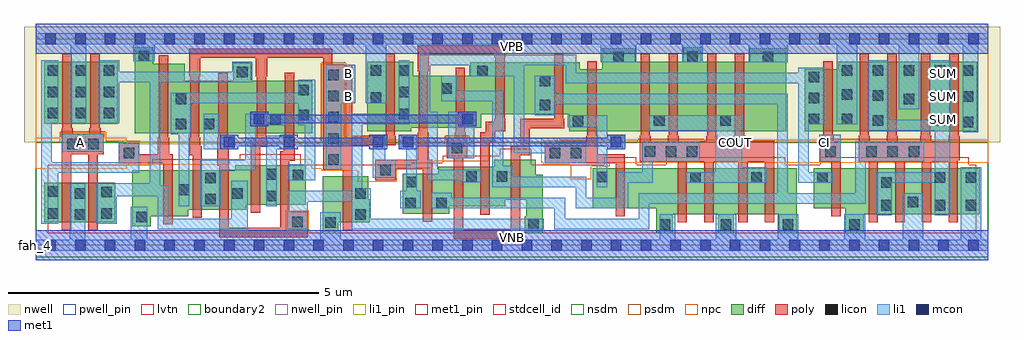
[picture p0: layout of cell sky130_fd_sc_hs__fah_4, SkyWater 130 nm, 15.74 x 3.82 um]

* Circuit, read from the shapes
.subckt sky130_fd_sc_hs__fah_4 A B CI COUT SUM VGND VNB VPB VPWR
XM1 VGND A n1 VNB sky130_fd_pr__nfet_01v8_lvt w=0.64 l=0.15
XM2 n2 A VGND VNB sky130_fd_pr__nfet_01v8_lvt w=0.64 l=0.15
XM3 n3 n1 VGND VNB sky130_fd_pr__nfet_01v8_lvt w=0.74 l=0.15
XM4 n4 B n3 VNB sky130_fd_pr__nfet_01v8_lvt w=0.64 l=0.15
XM5 n2 n5 n4 VNB sky130_fd_pr__nfet_01v8_lvt w=0.64 l=0.15
XM6 n6 B n2 VNB sky130_fd_pr__nfet_01v8_lvt w=0.64 l=0.15
XM7 n3 n5 n6 VNB sky130_fd_pr__nfet_01v8_lvt w=0.64 l=0.15
XM8 n5 B VGND VNB sky130_fd_pr__nfet_01v8_lvt w=0.74 l=0.15
XM9 n7 n6 n8 VNB sky130_fd_pr__nfet_01v8_lvt w=0.64 l=0.15
XM10 n9 n4 n7 VNB sky130_fd_pr__nfet_01v8_lvt w=0.64 l=0.15
XM11 n10 n6 n9 VNB sky130_fd_pr__nfet_01v8_lvt w=0.64 l=0.15
XM12 n5 n4 n10 VNB sky130_fd_pr__nfet_01v8_lvt w=0.64 l=0.15
XM13 VGND n9 n8 VNB sky130_fd_pr__nfet_01v8_lvt w=0.64 l=0.15
XM14 COUT n10 VGND VNB sky130_fd_pr__nfet_01v8_lvt w=0.74 l=0.15 m=4
XM15 VGND CI n9 VNB sky130_fd_pr__nfet_01v8_lvt w=0.64 l=0.15
XM16 SUM n7 VGND VNB sky130_fd_pr__nfet_01v8_lvt w=0.74 l=0.15 m=4
XM17 VPWR A n1 VPB sky130_fd_pr__pfet_01v8 w=1 l=0.15
XM18 n2 A VPWR VPB sky130_fd_pr__pfet_01v8 w=1 l=0.15
XM19 n3 n1 VPWR VPB sky130_fd_pr__pfet_01v8 w=1.12 l=0.15
XM20 n6 B n3 VPB sky130_fd_pr__pfet_01v8 w=0.84 l=0.15
XM21 n2 n5 n6 VPB sky130_fd_pr__pfet_01v8 w=0.84 l=0.15
XM22 n4 B n2 VPB sky130_fd_pr__pfet_01v8 w=0.84 l=0.15
XM23 n3 n5 n4 VPB sky130_fd_pr__pfet_01v8 w=0.84 l=0.15
XM24 n5 B VPWR VPB sky130_fd_pr__pfet_01v8 w=1.12 l=0.15
XM25 n10 n6 n5 VPB sky130_fd_pr__pfet_01v8 w=0.84 l=0.15
XM26 n9 n4 n10 VPB sky130_fd_pr__pfet_01v8 w=0.84 l=0.15
XM27 n7 n6 n9 VPB sky130_fd_pr__pfet_01v8 w=0.84 l=0.15
XM28 n8 n4 n7 VPB sky130_fd_pr__pfet_01v8 w=0.84 l=0.15
XM29 VPWR n9 n8 VPB sky130_fd_pr__pfet_01v8 w=1 l=0.15
XM30 COUT n10 VPWR VPB sky130_fd_pr__pfet_01v8 w=1.12 l=0.15 m=4
XM31 VPWR CI n9 VPB sky130_fd_pr__pfet_01v8 w=1 l=0.15
XM32 SUM n7 VPWR VPB sky130_fd_pr__pfet_01v8 w=1.12 l=0.15 m=4
.ends

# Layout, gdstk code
import gdstk
lib = gdstk.Library(unit=1e-6, precision=1e-09)
def R(c, l, rs):  # rectangles x0, y0, x1, y1
    for r in rs: c.add(gdstk.rectangle(r[:2], r[2:], *l))
def A(c, l, x, y, w, h, nx, ny, dx, dy):  # array of equal rectangles
    R(c, l, [(x+i*dx, y+j*dy, x+i*dx+w, y+j*dy+h) for i in range(nx) for j in range(ny)])
def P(c, l, *ps):  # polygons
    for p in ps: c.add(gdstk.Polygon(p, *l))
nwell_pin = (64, 16)
nwell = (64, 20)
diff = (65, 20)
poly = (66, 20)
licon = (66, 44)
li1_pin = (67, 16)
li1 = (67, 20)
mcon = (67, 44)
met1_pin = (68, 16)
met1 = (68, 20)
stdcell_id = (81, 4)
nsdm = (93, 44)
psdm = (94, 20)
npc = (95, 20)
pwell_pin = (122, 16)
lvtn = (125, 44)
boundary2 = (236, 0)

sky130_fd_sc_hs__fah_4 = lib.new_cell('sky130_fd_sc_hs__fah_4')
R(sky130_fd_sc_hs__fah_4, nwell_pin, [(0,3.085,15.36,3.33)])
P(sky130_fd_sc_hs__fah_4, nwell, [(15.55,3.52),(-0.19,3.52),(-0.19,1.66),(1.415,1.66),(1.415,1.63),(7.055,1.63),(7.055,1.715),(8.4,1.715),(8.4,1.66),(15.55,1.66)])
R(sky130_fd_sc_hs__fah_4, diff, [(0.135,0.37,1.285,1.01), (0.135,1.96,1.325,2.96)])
P(sky130_fd_sc_hs__fah_4, diff, [(4.355,1.29),(3.22,1.29),(3.22,1.21),(1.555,1.21),(1.555,0.31),(1.855,0.31),(1.855,0.47),(2.455,0.47),(2.455,0.57),(3.395,0.57),(3.395,0.65),(4.355,0.65)],
  [(4.46,2.65),(3.475,2.65),(3.475,2.94),(3.185,2.94),(3.185,2.65),(2.4,2.65),(2.4,2.93),(1.895,2.93),(1.895,3.195),(1.595,3.195),(1.595,1.81),(4.46,1.81)],
  [(5.385,0.74),(5.365,0.74),(5.365,1.11),(4.625,1.11),(4.625,0.225),(4.875,0.225),(4.875,0.37),(5.385,0.37)],
  [(8.175,1.14),(8.06,1.14),(8.06,1.375),(7.395,1.375),(7.395,1.265),(6.49,1.265),(6.49,1.15),(5.915,1.15),(5.915,0.51),(6.665,0.51),(6.665,0.625),(7.57,0.625),(7.57,0.735),(7.91,0.735),(7.91,0.465),(7.885,0.465),(7.885,0.195),(8.175,0.195)],
  [(12.105,3.18),(11.515,3.18),(11.515,2.96),(10.735,2.96),(10.735,3.195),(10.445,3.195),(10.445,2.96),(9.665,2.96),(9.665,3.18),(9.135,3.18),(9.135,2.84),(8.775,2.84),(8.775,2.955),(7.01,2.955),(7.01,2.735),(6.085,2.735),(6.085,2.96),(5.345,2.96),(5.345,1.84),(6.055,1.84),(6.055,1.895),(7.185,1.895),(7.185,2.115),(8.6,2.115),(8.6,1.84),(12.105,1.84)],
  [(12.275,1.24),(9.275,1.24),(9.275,1.245),(8.985,1.245),(8.985,0.6),(10.005,0.6),(10.005,0.19),(10.275,0.19),(10.275,0.5),(11.005,0.5),(11.005,0.19),(11.255,0.19),(11.255,0.5),(11.985,0.5),(11.985,0.19),(12.275,0.19)],
  [(15.18,2.96),(12.94,2.96),(12.94,2.84),(12.405,2.84),(12.405,1.84),(15.18,1.84)],
  [(15.225,1.24),(12.545,1.24),(12.545,0.6),(13.055,0.6),(13.055,0.19),(13.355,0.19),(13.355,0.5),(15.225,0.5)])
P(sky130_fd_sc_hs__fah_4, poly, [(1.095,1.8),(1.045,1.8),(1.045,1.885),(1.03,1.885),(1.03,3.09),(0.88,3.09),(0.88,1.885),(0.865,1.885),(0.865,1.8),(0.595,1.8),(0.595,1.885),(0.58,1.885),(0.58,3.09),(0.43,3.09),(0.43,1.885),(0.415,1.885),(0.415,1.62),(0.42,1.62),(0.42,0.24),(0.57,0.24),(0.57,1.47),(0.85,1.47),(0.85,0.24),(1,0.24),(1,1.47),(1.095,1.47)],
  [(2.205,1.47),(2.15,1.47),(2.15,1.735),(2.135,1.735),(2.135,3.06),(1.985,3.06),(1.985,1.735),(1.97,1.735),(1.97,1.47),(1.665,1.47),(1.665,1.65),(1.335,1.65),(1.335,1.32),(2.055,1.32),(2.055,0.34),(2.205,0.34)],
  [(4.385,0.54),(4.09,0.54),(4.09,1.365),(4.18,1.365),(4.18,1.735),(4.165,1.735),(4.165,2.78),(4.015,2.78),(4.015,1.735),(4,1.735),(4,1.515),(3.94,1.515),(3.94,0.28),(3.11,0.28),(3.11,1.735),(3.095,1.735),(3.095,2.78),(2.945,2.78),(2.945,1.735),(2.93,1.735),(2.93,1.285),(2.96,1.285),(2.96,0.13),(4.385,0.13)],
  [(5.805,1.765),(5.79,1.765),(5.79,3.09),(5.64,3.09),(5.64,1.765),(5.1,1.765),(5.1,2.91),(4.785,2.91),(4.785,3.17),(2.475,3.17),(2.475,2.725),(2.49,2.725),(2.49,1.735),(2.475,1.735),(2.475,1.45),(2.53,1.45),(2.53,0.44),(2.68,0.44),(2.68,1.6),(2.655,1.6),(2.655,1.735),(2.64,1.735),(2.64,2.725),(2.655,2.725),(2.655,3.02),(3.55,3.02),(3.55,2.725),(3.565,2.725),(3.565,1.735),(3.47,1.735),(3.47,0.52),(3.62,0.52),(3.62,1.585),(3.73,1.585),(3.73,1.735),(3.715,1.735),(3.715,2.725),(3.73,2.725),(3.73,3.02),(4.635,3.02),(4.635,1.22),(4.95,1.22),(4.95,0.24),(5.1,0.24),(5.1,1.615),(5.805,1.615)],
  [(14.9,1.765),(14.885,1.765),(14.885,3.09),(14.735,3.09),(14.735,1.765),(14.72,1.765),(14.72,1.68),(14.44,1.68),(14.44,1.765),(14.425,1.765),(14.425,3.09),(14.275,3.09),(14.275,1.765),(14.26,1.765),(14.26,1.68),(13.9,1.68),(13.9,1.765),(13.885,1.765),(13.885,3.09),(13.735,3.09),(13.735,1.765),(13.72,1.765),(13.72,1.68),(13.45,1.68),(13.45,1.765),(13.435,1.765),(13.435,3.09),(13.285,3.09),(13.285,1.765),(13.27,1.765),(13.27,1.35),(13.43,1.35),(13.43,0.37),(13.58,0.37),(13.58,1.35),(13.86,1.35),(13.86,0.37),(14.01,0.37),(14.01,1.35),(14.29,1.35),(14.29,0.37),(14.44,0.37),(14.44,1.35),(14.72,1.35),(14.72,0.37),(14.87,0.37),(14.87,1.37),(14.9,1.37)],
  [(12.98,1.68),(12.865,1.68),(12.865,1.765),(12.85,1.765),(12.85,2.97),(12.7,2.97),(12.7,1.765),(12.685,1.765),(12.685,1.68),(12.65,1.68),(12.65,1.35),(12.83,1.35),(12.83,0.47),(12.98,0.47)],
  [(11.91,1.685),(11.44,1.685),(11.44,1.765),(11.425,1.765),(11.425,3.09),(11.275,3.09),(11.275,1.765),(11.26,1.765),(11.26,1.68),(10.99,1.68),(10.99,1.765),(10.975,1.765),(10.975,3.09),(10.825,3.09),(10.825,1.765),(10.81,1.765),(10.81,1.68),(10.37,1.68),(10.37,1.765),(10.355,1.765),(10.355,3.09),(10.205,3.09),(10.205,1.765),(10.19,1.765),(10.19,1.68),(9.92,1.68),(9.92,1.765),(9.905,1.765),(9.905,3.09),(9.755,3.09),(9.755,1.765),(9.74,1.765),(9.74,1.35),(10.35,1.35),(10.35,0.37),(10.5,0.37),(10.5,1.35),(10.78,1.35),(10.78,0.37),(10.93,0.37),(10.93,1.35),(11.33,1.35),(11.33,0.37),(11.48,0.37),(11.48,1.35),(11.76,1.35),(11.76,0.37),(11.91,0.37)],
  [(9.5,1.47),(9.06,1.47),(9.06,1.765),(9.045,1.765),(9.045,2.97),(8.895,2.97),(8.895,1.765),(8.88,1.765),(8.88,1.65),(8.205,1.65),(8.205,1.32),(9.35,1.32),(9.35,0.47),(9.5,0.47)],
  [(8.525,2.04),(8.51,2.04),(8.51,3.085),(8.36,3.085),(8.36,2.04),(7.815,2.04),(7.815,1.6),(7.66,1.6),(7.66,0.255),(6.89,0.255),(6.89,1.405),(6.96,1.405),(6.96,1.735),(6.935,1.735),(6.935,1.82),(6.92,1.82),(6.92,2.865),(6.77,2.865),(6.77,1.82),(6.755,1.82),(6.755,1.735),(6.63,1.735),(6.63,1.405),(6.74,1.405),(6.74,0.105),(7.81,0.105),(7.81,1.45),(7.965,1.45),(7.965,1.89),(8.525,1.89)],
  [(7.575,2.04),(7.56,2.04),(7.56,3.03),(7.575,3.03),(7.575,3.225),(6.16,3.225),(6.16,2.81),(6.175,2.81),(6.175,1.82),(6.16,1.82),(6.16,1.375),(5.475,1.375),(5.475,1.045),(5.805,1.045),(5.805,1.225),(6.24,1.225),(6.24,0.38),(6.39,0.38),(6.39,1.375),(6.34,1.375),(6.34,1.82),(6.325,1.82),(6.325,2.81),(6.34,2.81),(6.34,3.075),(7.395,3.075),(7.395,3.03),(7.41,3.03),(7.41,2.04),(7.395,2.04),(7.395,1.99),(7.26,1.99),(7.26,1.82),(7.17,1.82),(7.17,0.495),(7.32,0.495),(7.32,1.67),(7.41,1.67),(7.41,1.84),(7.575,1.84)])
A(sky130_fd_sc_hs__fah_4, licon, 4.715, 1.3, 0.17, 0.17, 1, 5, 0, 0.34)
A(sky130_fd_sc_hs__fah_4, licon, 9.82, 1.43, 0.17, 0.17, 3, 1, 0.34, 0)
A(sky130_fd_sc_hs__fah_4, licon, 13.395, 1.43, 0.17, 0.17, 3, 1, 0.34, 0)
A(sky130_fd_sc_hs__fah_4, licon, 14.95, 1.9, 0.17, 0.17, 1, 3, 0, 0.415)
A(sky130_fd_sc_hs__fah_4, licon, 12.465, 1.95, 0.17, 0.17, 1, 3, 0, 0.34)
A(sky130_fd_sc_hs__fah_4, licon, 0.195, 2.05, 0.17, 0.17, 3, 3, 0.45, 0.34)
A(sky130_fd_sc_hs__fah_4, licon, 13, 2.73, 0.17, 0.17, 4, 1, 0.5, 0)
R(sky130_fd_sc_hs__fah_4, licon, [(10.065,0.25,10.235,0.42), (11.045,0.25,11.215,0.42), (12.045,0.25,12.215,0.42), (13.12,0.25,13.29,0.42), (7.945,0.255,8.115,0.425), (4.665,0.285,4.835,0.455), (4.135,0.29,4.305,0.46), (1.62,0.37,1.79,0.54), (0.625,0.41,0.795,0.58), (5.155,0.41,5.325,0.58), (0.195,0.43,0.365,0.6), (1.055,0.43,1.225,0.6), (13.635,0.56,13.805,0.73), (14.495,0.56,14.665,0.73), (14.995,0.56,15.165,0.73), (5.955,0.595,6.125,0.765), (6.455,0.595,6.625,0.765), (14.065,0.615,14.235,0.785), (2.735,0.66,2.905,0.83), (3.715,0.71,3.885,0.88), (0.625,0.75,0.795,0.92), (3.165,0.75,3.335,0.92), (5.155,0.75,5.325,0.92), (1.055,0.77,1.225,0.94), (0.195,0.78,0.365,0.95), (2.305,0.81,2.475,0.98), (13.635,0.93,13.805,1.1), (5.975,0.935,6.145,1.105), (2.735,1,2.905,1.17), (10.555,1.01,10.725,1.18), (11.535,1.01,11.705,1.18), (12.605,1.01,12.775,1.18), (14.495,1.01,14.665,1.18), (14.995,1.01,15.165,1.18), (9.045,1.015,9.215,1.185), (6.945,1.025,7.115,1.195), (7.435,1.025,7.605,1.195), (4.145,1.05,4.315,1.22), (3.715,1.06,3.885,1.23), (5.555,1.125,5.725,1.295), (1.415,1.4,1.585,1.57), (8.285,1.4,8.455,1.57), (8.625,1.4,8.795,1.57), (12.73,1.43,12.9,1.6), (6.71,1.485,6.88,1.655), (0.505,1.55,0.675,1.72), (0.845,1.55,1.015,1.72), (2.255,1.87,2.425,2.04), (2.705,1.87,2.875,2.04), (8.66,1.915,8.83,2.085), (9.97,1.93,10.14,2.1), (11.04,1.93,11.21,2.1), (13.5,1.93,13.67,2.1), (14.5,1.93,14.67,2.1), (3.78,1.94,3.95,2.11), (13,1.95,13.17,2.12), (4.23,2.015,4.4,2.185), (5.855,2.03,6.025,2.2), (8.125,2.175,8.295,2.345), (2.255,2.27,2.425,2.44), (14,2.27,14.17,2.44), (5.405,2.3,5.575,2.47), (13.5,2.33,13.67,2.5), (14.5,2.33,14.67,2.5), (13,2.345,13.17,2.515), (5.855,2.39,6.025,2.56), (4.23,2.42,4.4,2.59), (6.535,2.44,6.705,2.61), (8.125,2.565,8.295,2.735), (3.245,2.71,3.415,2.88), (7.12,2.725,7.29,2.895), (5.405,2.73,5.575,2.9), (5.855,2.73,6.025,2.9), (9.315,2.95,9.485,3.12), (11.725,2.95,11.895,3.12), (10.505,2.955,10.675,3.125), (1.66,2.97,1.83,3.14)])
A(sky130_fd_sc_hs__fah_4, li1_pin, 14.555, 1.95, 0.17, 0.17, 1, 3, 0, 0.37)
R(sky130_fd_sc_hs__fah_4, li1_pin, [(0.635,1.58,0.805,1.75), (11.195,1.58,11.365,1.75), (12.635,1.58,12.805,1.75), (4.955,2.32,5.125,2.49), (4.955,2.69,5.125,2.86)])
R(sky130_fd_sc_hs__fah_4, li1, [(12.635,1.35,12.98,1.78), (6.655,1.405,7.075,2.15), (0.425,1.51,1.095,1.8)])
P(sky130_fd_sc_hs__fah_4, li1, [(0,3.245),(0,3.415),(15.36,3.415),(15.36,3.245),(15.2,3.245),(15.2,1.82),(14.95,1.82),(14.95,3.245),(14.25,3.245),(14.25,2.19),(13.92,2.19),(13.92,3.245),(13.25,3.245),(13.25,1.95),(12.92,1.95),(12.92,3.245),(12.125,3.245),(12.125,2.95),(11.495,2.95),(11.495,3.245),(10.755,3.245),(10.755,2.95),(10.425,2.95),(10.425,3.245),(9.685,3.245),(9.685,2.95),(9.115,2.95),(9.115,3.245),(5.655,3.245),(5.655,2.29),(5.325,2.29),(5.325,3.245),(1.915,3.245),(1.915,2.97),(1.575,2.97),(1.575,3.245),(0.815,3.245),(0.815,1.97),(0.565,1.97),(0.565,3.245)],
  [(0,-0.085),(0,0.085),(0.545,0.085),(0.545,1),(0.795,1),(0.795,0.085),(1.535,0.085),(1.535,0.62),(1.795,0.62),(1.795,0.085),(4.585,0.085),(4.585,0.535),(4.915,0.535),(4.915,0.085),(10.065,0.085),(10.065,0.5),(10.315,0.5),(10.315,0.085),(10.965,0.085),(10.965,0.5),(11.295,0.5),(11.295,0.085),(11.965,0.085),(11.965,0.5),(12.295,0.5),(12.295,0.085),(13.035,0.085),(13.035,0.5),(13.375,0.5),(13.375,0.085),(13.985,0.085),(13.985,0.84),(14.315,0.84),(14.315,0.085),(14.915,0.085),(14.915,1.26),(15.245,1.26),(15.245,0.085),(15.36,0.085),(15.36,-0.085)],
  [(14.42,2.02),(14.42,2.98),(14.755,2.98),(14.755,1.85),(14.745,1.85),(14.745,0.48),(14.495,0.48),(14.495,1.01),(13.805,1.01),(13.805,0.48),(13.555,0.48),(13.555,1.18),(14.495,1.18),(14.495,1.85),(13.42,1.85),(13.42,2.98),(13.75,2.98),(13.75,2.02)],
  [(10.96,1.18),(10.96,1.85),(9.89,1.85),(9.89,2.1),(11.395,2.1),(11.395,1.26),(11.785,1.26),(11.785,1.01),(10.475,1.01),(10.475,1.18)],
  [(4.675,1.22),(4.675,2.91),(5.155,2.91),(5.155,2.29),(4.925,2.29),(4.925,1.22)],
  [(4.055,0.875),(5.095,0.875),(5.095,2.12),(5.855,2.12),(5.855,2.98),(6.025,2.98),(6.025,1.95),(5.265,1.95),(5.265,0.92),(5.405,0.92),(5.405,0.425),(8.195,0.425),(8.195,0.255),(5.095,0.255),(5.095,0.705),(4.385,0.705),(4.385,0.255),(4.055,0.255)],
  [(8.375,2.44),(12.125,2.44),(12.125,0.84),(13.215,0.84),(13.215,1.68),(14.325,1.68),(14.325,1.35),(13.385,1.35),(13.385,0.67),(9.895,0.67),(9.895,0.255),(8.365,0.255),(8.365,0.595),(6.375,0.595),(6.375,0.845),(6.705,0.845),(6.705,0.765),(8.535,0.765),(8.535,0.425),(9.725,0.425),(9.725,0.84),(11.955,0.84),(11.955,2.27),(8.375,2.27),(8.375,2.095),(8.045,2.095),(8.045,2.735),(8.375,2.735)],
  [(3.375,2.12),(4.03,2.12),(4.03,1.935),(3.545,1.935),(3.545,1.21),(2.985,1.21),(2.985,0.625),(2.655,0.625),(2.655,1.38),(3.375,1.38)],
  [(2.96,1.78),(3.205,1.78),(3.205,1.55),(2.705,1.55),(2.705,2.12),(2.96,2.12)],
  [(1.345,2.8),(3.165,2.8),(3.165,2.96),(3.495,2.96),(3.495,2.63),(2.005,2.63),(2.005,0.96),(2.135,0.96),(2.135,0.425),(3.155,0.425),(3.155,1.04),(3.415,1.04),(3.415,0.255),(1.965,0.255),(1.965,0.79),(1.305,0.79),(1.305,0.35),(0.975,0.35),(0.975,1),(1.835,1),(1.835,2.63),(1.345,2.63),(1.345,1.97),(1.015,1.97),(1.015,2.98),(1.345,2.98)],
  [(2.305,0.625),(2.305,1.79),(2.175,1.79),(2.175,2.46),(4.23,2.46),(4.23,2.67),(4.505,2.67),(4.505,1.045),(4.065,1.045),(4.065,1.31),(4.335,1.31),(4.335,1.935),(4.23,1.935),(4.23,2.29),(2.505,2.29),(2.505,1.79),(2.475,1.79),(2.475,0.625)],
  [(12.295,1.01),(12.295,2.61),(8.545,2.61),(8.545,2.905),(7.875,2.905),(7.875,1.65),(8.875,1.65),(8.875,1.32),(8.205,1.32),(8.205,1.48),(7.705,1.48),(7.705,2.725),(6.99,2.725),(6.99,2.905),(6.365,2.905),(6.365,2.15),(6.485,2.15),(6.485,1.215),(7.195,1.215),(7.195,1.015),(6.865,1.015),(6.865,1.045),(6.315,1.045),(6.315,1.98),(6.195,1.98),(6.195,3.075),(8.715,3.075),(8.715,2.78),(12.295,2.78),(12.295,2.86),(12.715,2.86),(12.715,1.95),(12.465,1.95),(12.465,1.18),(12.855,1.18),(12.855,1.01)],
  [(7.365,2.32),(6.535,2.32),(6.535,2.735),(6.785,2.735),(6.785,2.49),(7.535,2.49),(7.535,1.285),(7.685,1.285),(7.685,1.105),(8.875,1.105),(8.875,0.765),(9.385,0.765),(9.385,1.18),(9.78,1.18),(9.78,1.68),(10.71,1.68),(10.71,1.35),(9.95,1.35),(9.95,1.01),(9.555,1.01),(9.555,0.595),(8.705,0.595),(8.705,0.935),(7.365,0.935)],
  [(0.085,2.98),(0.365,2.98),(0.365,1.97),(0.255,1.97),(0.255,1.34),(1.335,1.34),(1.335,1.65),(1.665,1.65),(1.665,1.17),(0.365,1.17),(0.365,0.35),(0.085,0.35)],
  [(5.885,1.55),(5.885,1.78),(6.145,1.78),(6.145,0.875),(6.205,0.875),(6.205,0.595),(5.875,0.595),(5.875,0.875),(5.975,0.875),(5.975,1.55)],
  [(9.215,1.775),(9.475,1.775),(9.475,1.55),(9.215,1.55),(9.215,0.935),(9.045,0.935),(9.045,1.9),(8.58,1.9),(8.58,2.1),(9.215,2.1)],
  [(5.435,1.09),(5.435,1.78),(5.635,1.78),(5.635,1.375),(5.805,1.375),(5.805,1.09)],
  [(3.715,1.765),(4.165,1.765),(4.165,1.55),(3.885,1.55),(3.885,0.63),(3.715,0.63)])
A(sky130_fd_sc_hs__fah_4, mcon, 0.155, -0.085, 0.17, 0.17, 32, 2, 0.48, 3.33)
R(sky130_fd_sc_hs__fah_4, mcon, [(3.035,1.58,3.205,1.75), (3.995,1.58,4.165,1.75), (5.435,1.58,5.605,1.75), (5.915,1.58,6.085,1.75), (9.275,1.58,9.445,1.75), (3.515,1.95,3.685,2.12), (6.875,1.95,7.045,2.12)])
R(sky130_fd_sc_hs__fah_4, met1_pin, [(0,0,15.36,0.245), (0,3.085,15.36,3.33)])
R(sky130_fd_sc_hs__fah_4, met1, [(0,-0.245,15.36,0.245), (0,3.085,15.36,3.575)])
P(sky130_fd_sc_hs__fah_4, met1, [(9.215,1.55),(9.215,1.595),(6.145,1.595),(6.145,1.55),(5.855,1.55),(5.855,1.78),(6.145,1.78),(6.145,1.735),(9.215,1.735),(9.215,1.78),(9.505,1.78),(9.505,1.55)],
  [(3.935,1.55),(3.935,1.595),(3.265,1.595),(3.265,1.55),(2.975,1.55),(2.975,1.78),(3.265,1.78),(3.265,1.735),(3.935,1.735),(3.935,1.78),(4.225,1.78),(4.225,1.735),(5.375,1.735),(5.375,1.78),(5.665,1.78),(5.665,1.55),(5.375,1.55),(5.375,1.595),(4.225,1.595),(4.225,1.55)],
  [(6.815,1.92),(6.815,1.965),(3.745,1.965),(3.745,1.92),(3.455,1.92),(3.455,2.15),(3.745,2.15),(3.745,2.105),(6.815,2.105),(6.815,2.15),(7.105,2.15),(7.105,1.92)])
R(sky130_fd_sc_hs__fah_4, stdcell_id, [(0,0,15.36,3.33)])
R(sky130_fd_sc_hs__fah_4, nsdm, [(0,-0.19,15.36,1.66)])
P(sky130_fd_sc_hs__fah_4, psdm, [(15.36,3.52),(0,3.52),(0,1.66),(0.395,1.66),(0.395,1.83),(1.125,1.83),(1.125,1.68),(1.695,1.68),(1.695,1.66),(4.605,1.66),(4.605,2.94),(4.995,2.94),(4.995,1.66),(6.6,1.66),(6.6,1.765),(6.99,1.765),(6.99,1.66),(8.175,1.66),(8.175,1.68),(8.905,1.68),(8.905,1.66),(9.71,1.66),(9.71,1.71),(10.78,1.71),(10.78,1.66),(12.62,1.66),(12.62,1.71),(14.355,1.71),(14.355,1.66),(15.36,1.66)])
R(sky130_fd_sc_hs__fah_4, npc, [(4.035,0.19,4.405,0.56)])
P(sky130_fd_sc_hs__fah_4, npc, [(15.36,1.7),(8.46,1.7),(8.46,1.73),(8.15,1.73),(8.15,1.335),(8.185,1.335),(8.185,1.3),(8.63,1.3),(8.63,1.065),(8.955,1.065),(8.955,1.275),(9.26,1.275),(9.26,1.33),(15.36,1.33)],
  [(7.305,1.73),(6.98,1.73),(6.98,1.755),(6.61,1.755),(6.61,1.73),(6.195,1.73),(6.195,1.7),(4.985,1.7),(4.985,2.93),(4.615,2.93),(4.615,1.7),(4.6,1.7),(4.6,1.67),(1.455,1.67),(1.455,1.73),(1.115,1.73),(1.115,1.82),(0.405,1.82),(0.405,1.73),(0,1.73),(0,1.23),(1.465,1.23),(1.465,1.3),(3.13,1.3),(3.13,1.38),(4.445,1.38),(4.445,1.23),(4.615,1.23),(4.615,1.2),(5.19,1.2),(5.19,1.025),(5.825,1.025),(5.825,1.24),(6.4,1.24),(6.4,1.355),(7.305,1.355)])
R(sky130_fd_sc_hs__fah_4, pwell_pin, [(0,0,15.36,0.245)])
P(sky130_fd_sc_hs__fah_4, lvtn, [(15.17,1.3),(15.05,1.3),(15.05,1.42),(12.65,1.42),(12.65,1.3),(12.09,1.3),(12.09,1.42),(10.17,1.42),(10.17,1.3),(9.68,1.3),(9.68,1.42),(9.17,1.42),(9.17,1.3),(7.99,1.3),(7.99,1.555),(7.48,1.555),(7.48,1.445),(6.56,1.445),(6.56,1.33),(6.06,1.33),(6.06,1.3),(4.27,1.3),(4.27,1.47),(3.29,1.47),(3.29,1.39),(1.875,1.39),(1.875,1.3),(0.19,1.3),(0.19,0.19),(15.17,0.19)])
R(sky130_fd_sc_hs__fah_4, boundary2, [(0,0,15.36,3.33)])
sky130_fd_sc_hs__fah_4.add(gdstk.Label('fah_4', (0,0), layer=83, texttype=44))
sky130_fd_sc_hs__fah_4.add(gdstk.Label('VNB', (7.68,0.123), layer=64, texttype=59))
sky130_fd_sc_hs__fah_4.add(gdstk.Label('VPB', (7.68,3.208), layer=64, texttype=5))
sky130_fd_sc_hs__fah_4.add(gdstk.Label('VPWR', (7.68,3.208), layer=68, texttype=5))
sky130_fd_sc_hs__fah_4.add(gdstk.Label('VGND', (7.68,0.123), layer=68, texttype=5))
sky130_fd_sc_hs__fah_4.add(gdstk.Label('SUM', (14.64,2.035), layer=67, texttype=5))
sky130_fd_sc_hs__fah_4.add(gdstk.Label('SUM', (14.64,2.405), layer=67, texttype=5))
sky130_fd_sc_hs__fah_4.add(gdstk.Label('SUM', (14.64,2.775), layer=67, texttype=5))
sky130_fd_sc_hs__fah_4.add(gdstk.Label('COUT', (11.28,1.665), layer=67, texttype=5))
sky130_fd_sc_hs__fah_4.add(gdstk.Label('B', (5.04,2.405), layer=67, texttype=5))
sky130_fd_sc_hs__fah_4.add(gdstk.Label('B', (5.04,2.775), layer=67, texttype=5))
sky130_fd_sc_hs__fah_4.add(gdstk.Label('A', (0.72,1.665), layer=67, texttype=5))
sky130_fd_sc_hs__fah_4.add(gdstk.Label('CI', (12.72,1.665), layer=67, texttype=5))

lib.write_gds('sky130_fd_sc_hs__fah_4.gds')
